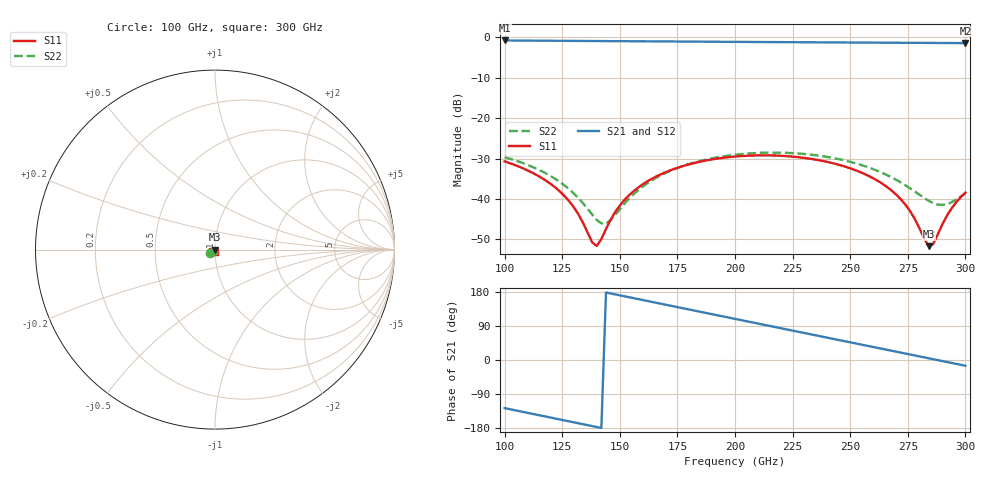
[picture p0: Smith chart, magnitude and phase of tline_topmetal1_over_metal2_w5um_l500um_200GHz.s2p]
#  GHZ S DB R 50
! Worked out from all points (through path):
!   101 points, 100 GHz to 300 GHz, reference 50 ohm
!   highest |S21| = -0.76 dB at 100 GHz (marker M1); lowest = -1.4 dB at 300 GHz (marker M2)
!   group delay of S21, straight-line fit = 3.45 ps
!   lowest |S11| = -51.7 dB at 284 GHz (marker M3), VSWR 1.01, Z = 49.8 - j0.121 ohm
!   |S11| at or under -10 dB: start of sweep to end of sweep
!   |S22| runs from -46.1 to -28.5 dB; largest |S21 - S12| = 1.5e-14
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100  -30.69 -148.5  -0.76 -127.0  -0.76 -127.0  -29.65 -146.0
112  -33.49 -164.8  -0.80 -142.0  -0.80 -142.0  -32.04 -160.9
122  -37.15 -175.9  -0.84 -154.4  -0.84 -154.4  -35.03 -170.6
128  -40.53 -179.4  -0.86 -161.9  -0.86 -161.9  -37.57 -173.4
134  -45.84 -173.5  -0.88 -169.4  -0.88 -169.4  -41.02 -170.1
138  -50.73 -146.0  -0.90 -174.4  -0.90 -174.4  -43.84 -159.3
140  -51.61 -116.9  -0.90 -176.9  -0.90 -176.9  -45.17 -148.9
144  -47.43 -76.6  -0.92 178.1  -0.92 178.1  -46.06 -118.5
152  -40.26 -65.6  -0.94 168.2  -0.94 168.2  -41.17 -82.7
160  -36.35 -71.1  -0.97 158.2  -0.97 158.2  -36.90 -79.4
168  -33.83 -79.8  -1.00 148.3  -1.00 148.3  -34.08 -84.3
182  -31.14 -96.9  -1.05 130.9  -1.05 130.9  -31.02 -98.2
200  -29.49 -119.8  -1.11 108.5  -1.11 108.5  -29.05 -118.6
216  -29.22 -140.2  -1.16 88.7  -1.16 88.7  -28.52 -137.1
234  -30.16 -162.7  -1.22 66.4  -1.22 66.4  -29.10 -157.1
254  -33.26 173.7  -1.28 41.7  -1.28 41.7  -31.44 -176.6
268  -37.92 160.7  -1.32 24.4  -1.32 24.4  -34.65 175.3
276  -43.01 160.2  -1.35 14.5  -1.35 14.5  -37.35 177.0
284  -51.67 -152.1  -1.37 4.6  -1.37 4.6  -40.42 -168.9
286  -51.16 -121.5  -1.37 2.1  -1.37 2.1  -41.01 -162.2
292  -44.12 -85.6  -1.39 -5.3  -1.39 -5.3  -41.27 -138.0
300  -38.41 -83.6  -1.41 -15.2  -1.41 -15.2  -38.60 -116.0
